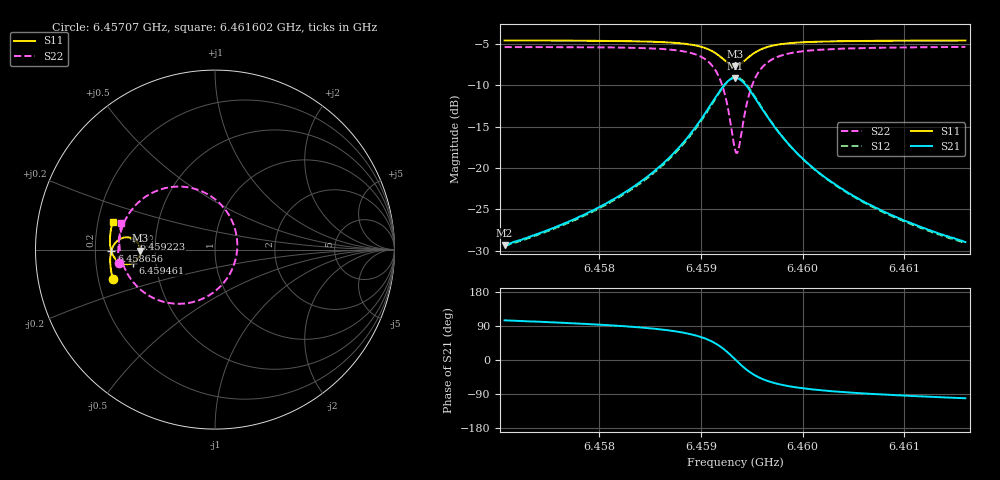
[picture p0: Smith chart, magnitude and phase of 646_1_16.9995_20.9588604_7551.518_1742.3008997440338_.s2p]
#  HZ  S  RI  R  50.00
! Rohde & Schwarz Vector Network Analyzer
! Rohde-Schwarz,ZNB20-2Port,1311601062101988,3.16
! Created: UTC 3/20/2024, 11:21:02 PM
! freq[Hz]  re:S11  im:S11  re:S21  im:S21  re:S12  im:S12  re:S22  im:S22
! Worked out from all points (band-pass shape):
!   401 points, 6.45707 GHz to 6.461602 GHz, reference 50 ohm
!   highest |S21| = -9.08 dB at 6.459336 GHz (marker M1); lowest = -29.3 dB at 6.45707 GHz (marker M2)
!   |S21| within 3 dB of the highest: 6.45911 GHz to 6.459563 GHz (453 kHz wide, 0.00701 % of centre)
!   lowest |S11| = -7.6 dB at 6.459336 GHz (marker M3), VSWR 2.42, Z = 20.7 - j0.333 ohm
!   |S11| at or under -10 dB: nowhere
!   |S22| runs from -18.2 to -5.3 dB; largest |S21 - S12| = 0.014
!   S11 on the Smith chart (normalised r, x): 6.45707 GHz: 0.26, -0.13; 6.458656 GHz: 0.27, -0.00; 6.459223 GHz: 0.38, +0.05; 6.459461 GHz: 0.37, -0.07; 6.461602 GHz: 0.26, +0.12
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6.4570701e9  -0.5687 -0.165  -0.00868 0.0331  -0.00675 0.033  -0.5345 -0.0761
6.4578292e9  -0.5818 -0.0983  -0.00521 0.0513  -0.00246 0.0506  -0.5387 0.0137
6.4582484e9  -0.5841 -0.0559  0.00107 0.071  0.00442 0.0695  -0.5294 0.0813
6.4585883e9  -0.5798 -0.0148  0.0155 0.1002  0.0194 0.0974  -0.5027 0.1593
6.4586563e9  -0.5774 -0.00533  0.021 0.1086  0.025 0.1053  -0.4922 0.1794
6.4588489e9  -0.5643 0.025  0.0481 0.1397  0.0523 0.1346  -0.4411 0.2489
6.4589962e9  -0.5412 0.0512  0.0943 0.1702  0.0974 0.1634  -0.3558 0.3133
6.4591321e9  -0.4968 0.0684  0.1828 0.1865  0.1836 0.179  -0.1936 0.3509
6.4592228e9  -0.4516 0.0576  0.2738 0.1543  0.274 0.1484  -0.0246 0.2985
6.4592908e9  -0.4222 0.0249  0.3349 0.0811  0.3371 0.0757  0.0921 0.1661
6.4593361e9  -0.4154 -0.00667  0.3512 0.0118  0.3551 0.00487  0.1243 0.0364
6.4593701e9  -0.4195 -0.0308  0.3451 -0.0417  0.3491 -0.0507  0.112 -0.0651
6.4594154e9  -0.4354 -0.0574  0.3156 -0.1022  0.318 -0.1146  0.0523 -0.1803
6.4594607e9  -0.4579 -0.0739  0.2726 -0.1437  0.2717 -0.1574  -0.0351 -0.2562
6.4595513e9  -0.502 -0.0809  0.1859 -0.1749  0.1796 -0.1868  -0.2081 -0.3021
6.4596193e9  -0.5266 -0.0733  0.1367 -0.1727  0.1285 -0.1816  -0.3031 -0.2859
6.4596986e9  -0.5464 -0.0601  0.0967 -0.1601  0.0879 -0.1665  -0.3786 -0.2501
6.4598573e9  -0.5682 -0.0321  0.0512 -0.1313  0.0433 -0.1341  -0.4599 -0.1762
6.4600952e9  -0.5809 0.00341  0.0219 -0.0991  0.0159 -0.0996  -0.5079 -0.0923
6.4604577e9  -0.5854 0.0467  0.00533 -0.0701  0.00128 -0.0697  -0.5297 -0.00807
6.4608543e9  -0.5832 0.0867  -0.00181 -0.0525  -0.00472 -0.0518  -0.5329 0.0561
6.4616021e9  -0.571 0.153  -0.00678 -0.035  -0.00864 -0.0341  -0.5213 0.1455
